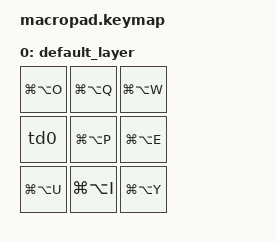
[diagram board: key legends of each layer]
/*
 * Copyright (c) 2022 The ZMK Contributors
 *
 * SPDX-License-Identifier: MIT
 */

#include <behaviors.dtsi>
#include <dt-bindings/zmk/keys.h>
#include <dt-bindings/zmk/bt.h>

/ {


    behaviors {
        td0: tap_dance_0 {
            compatible = "zmk,behavior-tap-dance";
            #binding-cells = <0>;
            tapping-term-ms = <200>;
            bindings = <&kp LG(LA(T))>, <&kp N2>, <&bootloader>;
        };
    };
    keymap {
        compatible = "zmk,keymap";

        default_layer {
            bindings = <
                &kp LG(LA(O))	&kp LG(LA(Q))	&kp LG(LA(W))
                &td0         	&kp LG(LA(P))  	&kp LG(LA(E))
                &kp LG(LA(U))	&kp LG(LA(I))	&kp LG(LA(Y))
            >;
        };
    };
};
